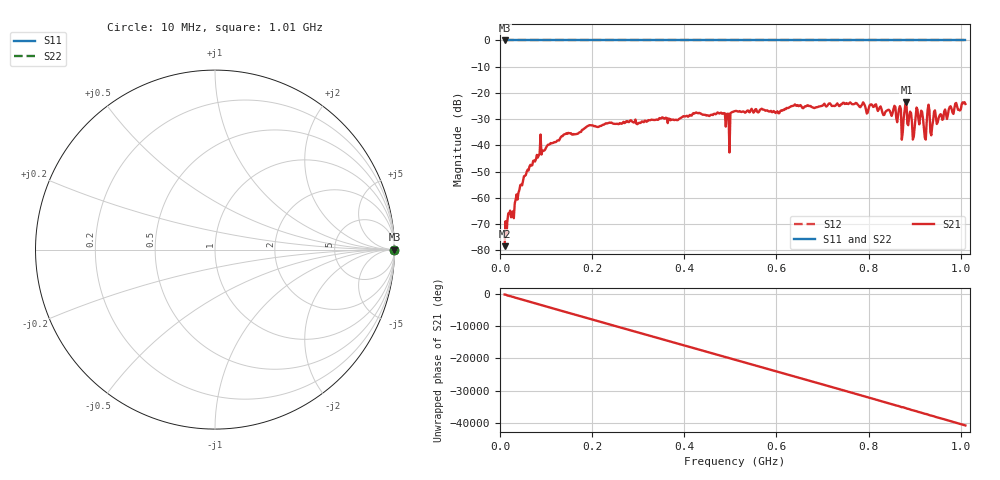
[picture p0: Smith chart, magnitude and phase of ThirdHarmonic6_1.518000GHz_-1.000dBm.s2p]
! 8/16/2025 5:54:46 PM
! C:\ANRITSUVNA\TEMP\TEMP.S2P
! CHANNEL.1
! TR.MEASUREMENT
! RAW.DATA
! RF.CORRECTION.OFF
! AVERAGING.OFF
! IF.BANDWIDTH: 5KHZ
! SWEEPTYPE:  FREQ.SWEEP(Linear)
! Reference Plane Port Info
! PORT:  PORT1  PORT2
! DISTANCE:  0  m  0  m
! TIME:  0  s  0  s
! PHASE.OFFSET:  0  deg.  0  deg.
! LOSS:  0  dB  0  dB
! REF.LOSS:  0  dB  0  dB
! REF.FREQ:  0  Hz  0  Hz
! Power Info
! POWER:  -20  dBm  -20  dBm
! EFF.POWER:  -20  dBm  -20  dBm
! SOURCE.ATTEN:  0  dB  0  dB
! TEST.ATTEN:  0  dB  0  dB
# GHZ S RI R 50.0
! FREQ.GHZ  S11RE  S11IM  S21RE  S21IM  S12RE  S12IM  S22RE  S22IM
!; PortSelection: Port_12
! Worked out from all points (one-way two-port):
!   501 points, 10 MHz to 1.01 GHz, reference 50 ohm
!   highest |S21| = -23.39 dB at 882 MHz (marker M1); lowest = -78.4 dB at 10 MHz (marker M2)
!   lowest |S11| = 0.0 dB at 10 MHz (marker M3)
!   |S11| at or under -10 dB: nowhere
!   |S22| runs from 0.0 to 0.0 dB; largest |S21 - S12| = 1.1
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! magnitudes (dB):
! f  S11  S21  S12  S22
! 10 MHz  0.0  -78.4  0.0  0.0
! 20 MHz  0.0  -65.9  0.0  0.0
! 84 MHz  0.0  -43.8  0.0  0.0
! 178 MHz  0.0  -34.1  0.0  0.0
! 344 MHz  0.0  -30.1  0.0  0.0
! 476 MHz  0.0  -27.8  0.0  0.0
! 492 MHz  0.0  -28.0  0.0  0.0
! 494 MHz  0.0  -27.9  0.0  0.0
! 510 MHz  0.0  -26.9  0.0  0.0
! 678 MHz  0.0  -25.5  0.0  0.0
! 844 MHz  0.0  -26.4  0.0  0.0
! 866 MHz  0.0  -26.1  0.0  0.0
! 874 MHz  0.0  -35.0  0.0  0.0
! 882 MHz  0.0  -23.4  0.0  0.0
! 898 MHz  0.0  -36.6  0.0  0.0
! 904 MHz  0.0  -25.6  0.0  0.0
! 916 MHz  0.0  -27.2  0.0  0.0
! 922 MHz  0.0  -37.1  0.0  0.0
! 930 MHz  0.0  -24.5  0.0  0.0
! 938 MHz  0.0  -32.7  0.0  0.0
! 942 MHz  0.0  -27.1  0.0  0.0
! 1.01 GHz  0.0  -24.2  0.0  0.0
